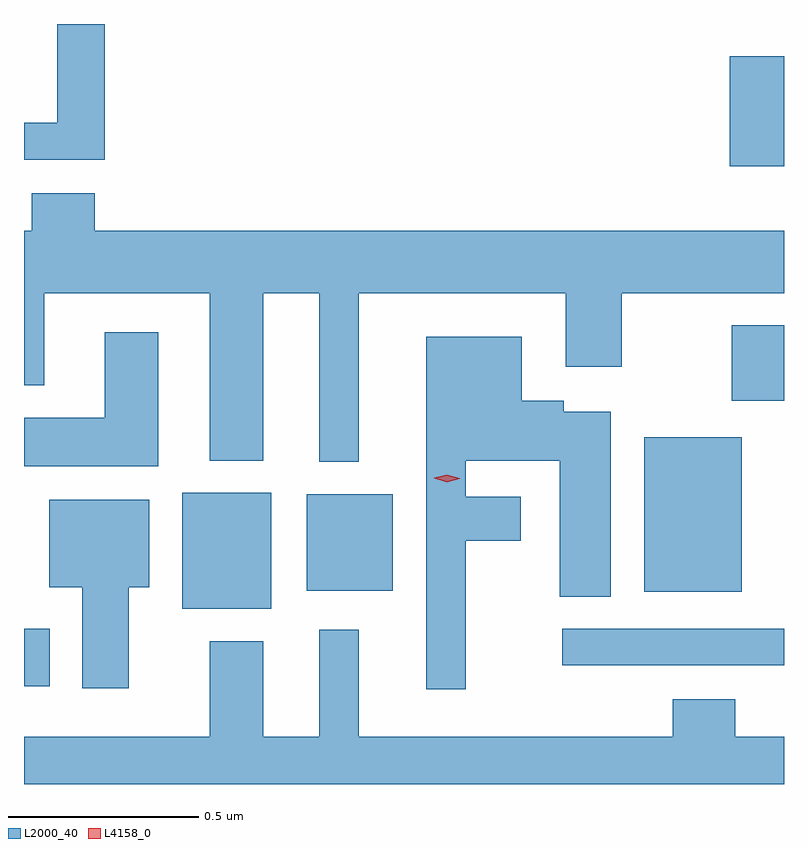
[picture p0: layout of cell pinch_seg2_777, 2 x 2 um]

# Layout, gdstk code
import gdstk
lib = gdstk.Library(unit=1e-6, precision=1e-09)
def R(c, l, rs):  # rectangles x0, y0, x1, y1
    for r in rs: c.add(gdstk.rectangle(r[:2], r[2:], *l))
def P(c, l, *ps):  # polygons
    for p in ps: c.add(gdstk.Polygon(p, *l))
L2000_40 = (2000, 40)
L4158_0 = (4158, 0)

pinch_seg2_777 = lib.new_cell('pinch_seg2_777')
R(pinch_seg2_777, L2000_40, [(645.692,651.929,645.76,652.081), (647.109,651.984,647.692,652.08), (646.109,652.133,646.342,652.438), (647.324,652.178,647.581,652.585), (646.436,652.181,646.663,652.435), (647.554,652.68,647.692,652.879), (647.549,653.298,647.692,653.587)])
P(pinch_seg2_777, L2000_40, [(645.905,653.672),(645.779,653.672),(645.779,653.412),(645.692,653.412),(645.692,653.315),(645.905,653.315)],
  [(646.573,652.964),(647.117,652.964),(647.117,652.77),(647.265,652.77),(647.265,652.964),(647.692,652.964),(647.692,653.128),(645.878,653.128),(645.878,653.227),(645.713,653.227),(645.713,653.128),(645.692,653.128),(645.692,652.721),(645.745,652.721),(645.745,652.964),(646.181,652.964),(646.181,652.523),(646.321,652.523),(646.321,652.964),(646.469,652.964),(646.469,652.52),(646.573,652.52)],
  [(646.045,652.861),(645.905,652.861),(645.905,652.636),(645.692,652.636),(645.692,652.508),(646.045,652.508)],
  [(646.855,652.312),(646.999,652.312),(646.999,652.428),(646.855,652.428),(646.855,652.523),(647.102,652.523),(647.102,652.165),(647.236,652.165),(647.236,652.651),(647.113,652.651),(647.113,652.681),(647.002,652.681),(647.002,652.849),(646.751,652.849),(646.751,651.921),(646.855,651.921)],
  [(645.967,652.19),(646.021,652.19),(646.021,652.42),(645.758,652.42),(645.758,652.19),(645.845,652.19),(645.845,651.924),(645.967,651.924)],
  [(647.692,651.796),(647.564,651.796),(647.564,651.895),(647.399,651.895),(647.399,651.796),(646.573,651.796),(646.573,652.078),(646.469,652.078),(646.469,651.796),(646.321,651.796),(646.321,652.048),(646.181,652.048),(646.181,651.796),(645.692,651.796),(645.692,651.672),(647.692,651.672)])
P(pinch_seg2_777, L4158_0, [(646.805,652.466),(646.771,652.477),(646.771,652.477),(646.771,652.478),(646.805,652.486),(646.839,652.476),(646.839,652.475),(646.839,652.475)])

lib.write_gds('pinch_seg2_777.gds')
